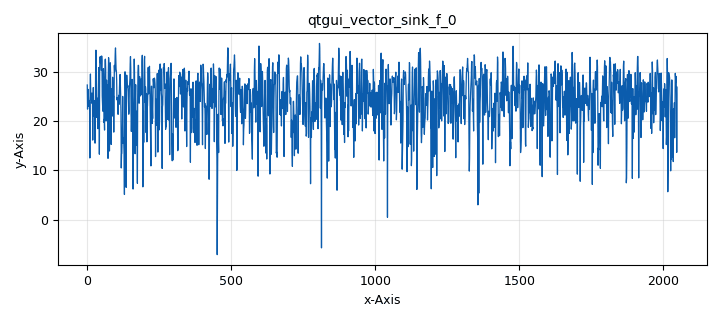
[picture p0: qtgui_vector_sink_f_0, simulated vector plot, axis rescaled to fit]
<?xml version='1.0' encoding='utf-8'?>
<?grc format='1' created='3.8.git'?>
<flow_graph>
<block>
<key>options</key>
<param><key>id</key><value>overload</value></param>
<param><key>generate_options</key><value>qt_gui</value></param>
</block>
<block>
<key>analog_fastnoise_source_x</key>
<param><key>id</key><value>analog_fastnoise_source_x_0</value></param>
<param><key>amp</key><value>1</value></param>
<param><key>noise_type</key><value>analog.GR_GAUSSIAN</value></param>
<param><key>type</key><value>complex</value></param>
<param><key>seed</key><value>0</value></param>
<param><key>samples</key><value>8192</value></param>
</block>
<block>
<key>blocks_complex_to_mag_squared</key>
<param><key>id</key><value>blocks_complex_to_mag_squared_0</value></param>
<param><key>vlen</key><value>fftlen</value></param>
</block>
<block>
<key>blocks_nlog10_ff</key>
<param><key>id</key><value>blocks_nlog10_ff_0</value></param>
<param><key>vlen</key><value>fftlen</value></param>
<param><key>k</key><value>0</value></param>
<param><key>n</key><value>10</value></param>
</block>
<block>
<key>blocks_stream_to_vector</key>
<param><key>id</key><value>blocks_stream_to_vector_0</value></param>
<param><key>type</key><value>complex</value></param>
<param><key>num_items</key><value>fftlen</value></param>
</block>
<block>
<key>fft_vxx</key>
<param><key>id</key><value>fft_vxx_0</value></param>
<param><key>fft_size</key><value>fftlen</value></param>
<param><key>forward</key><value>True</value></param>
<param><key>type</key><value>complex</value></param>
<param><key>shift</key><value>True</value></param>
<param><key>window</key><value>window.blackmanharris(fftlen)</value></param>
</block>
<block>
<key>parameter</key>
<param><key>id</key><value>fftlen</value></param>
<param><key>label</key><value>FFT length</value></param>
<param><key>short_id</key><value>l</value></param>
<param><key>type</key><value>intx</value></param>
<param><key>value</key><value>2048</value></param>
</block>
<block>
<key>qtgui_vector_sink_f</key>
<param><key>id</key><value>qtgui_vector_sink_f_0</value></param>
<param><key>showports</key><value>True</value></param>
<param><key>vlen</key><value>fftlen</value></param>
<param><key>x_start</key><value>0</value></param>
<param><key>x_step</key><value>1.0</value></param>
<param><key>ymax</key><value>30</value></param>
<param><key>ymin</key><value>-50</value></param>
</block>
<block>
<key>parameter</key>
<param><key>id</key><value>rffreq</value></param>
<param><key>label</key><value>Center Frequency</value></param>
<param><key>short_id</key><value>f</value></param>
<param><key>type</key><value>eng_float</value></param>
<param><key>value</key><value>2.425e9</value></param>
</block>
<block>
<key>parameter</key>
<param><key>id</key><value>samp_rate</value></param>
<param><key>label</key><value>sampling rate</value></param>
<param><key>short_id</key><value>r</value></param>
<param><key>type</key><value>eng_float</value></param>
<param><key>value</key><value>30e6</value></param>
</block>
<block>
<key>uhd_usrp_source</key>
<param><key>id</key><value>uhd_usrp_source_0</value></param>
<param><key>ant0</key><value></value></param>
<param><key>center_freq0</key><value>2.425e9</value></param>
<param><key>dc_offs_enb0</key><value>""</value></param>
<param><key>iq_imbal_enb0</key><value>""</value></param>
<param><key>norm_gain0</key><value>True</value></param>
<param><key>gain0</key><value>1</value></param>
<param><key>clock_rate</key><value>0.0</value></param>
<param><key>dev_args</key><value>""</value></param>
<param><key>_enabled</key><value>0</value></param>
<param><key>type</key><value>fc32</value></param>
<param><key>samp_rate</key><value>samp_rate</value></param>
<param><key>hide_cmd_port</key><value>False</value></param>
<param><key>hide_lo_controls</key><value>True</value></param>
<param><key>sync</key><value></value></param>
</block>
<connection><source_block_id>analog_fastnoise_source_x_0</source_block_id><sink_block_id>blocks_stream_to_vector_0</sink_block_id><source_key>0</source_key><sink_key>0</sink_key></connection>
<connection><source_block_id>blocks_complex_to_mag_squared_0</source_block_id><sink_block_id>blocks_nlog10_ff_0</sink_block_id><source_key>0</source_key><sink_key>0</sink_key></connection>
<connection><source_block_id>blocks_nlog10_ff_0</source_block_id><sink_block_id>qtgui_vector_sink_f_0</sink_block_id><source_key>0</source_key><sink_key>0</sink_key></connection>
<connection><source_block_id>blocks_stream_to_vector_0</source_block_id><sink_block_id>fft_vxx_0</sink_block_id><source_key>0</source_key><sink_key>0</sink_key></connection>
<connection><source_block_id>fft_vxx_0</source_block_id><sink_block_id>blocks_complex_to_mag_squared_0</sink_block_id><source_key>0</source_key><sink_key>0</sink_key></connection>
<connection><source_block_id>uhd_usrp_source_0</source_block_id><sink_block_id>blocks_stream_to_vector_0</sink_block_id><source_key>0</source_key><sink_key>0</sink_key></connection>
</flow_graph>
